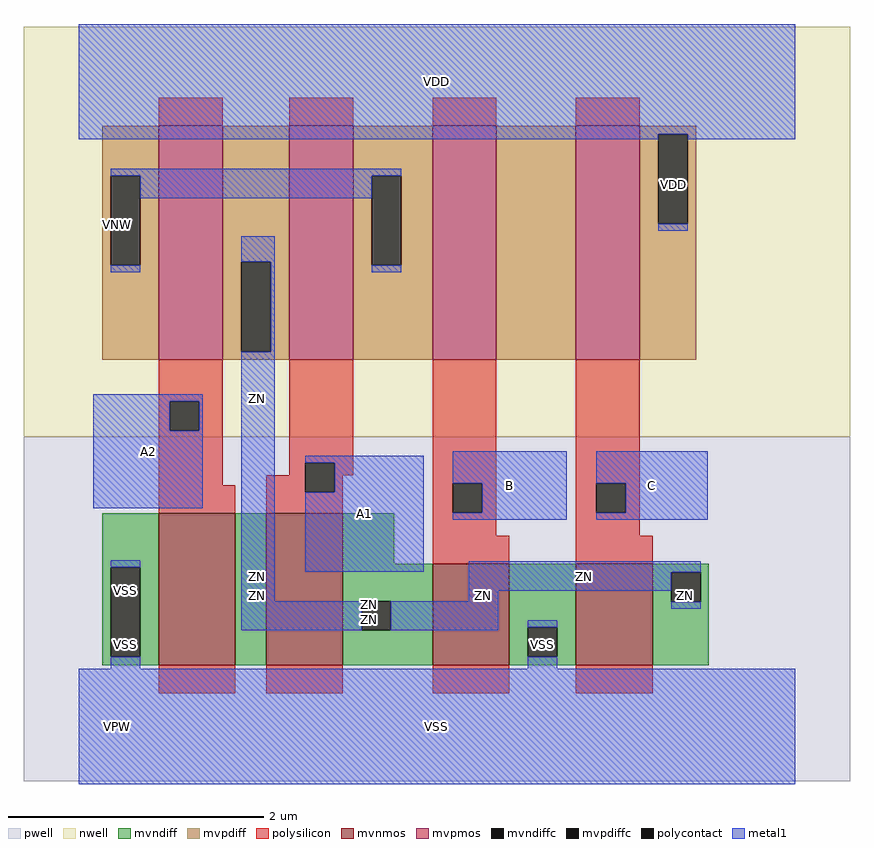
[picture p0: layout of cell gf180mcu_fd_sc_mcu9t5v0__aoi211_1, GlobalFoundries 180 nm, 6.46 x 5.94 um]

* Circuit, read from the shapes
.subckt gf180mcu_fd_sc_mcu9t5v0__aoi211_1 A1 A2 B C ZN VDD VNW VPW VSS
XM1 n1 A2 VSS VPW nfet_06v0 w=1.185u l=0.6u
XM2 ZN A1 n1 VPW nfet_06v0 w=1.185u l=0.6u
XM3 VSS B ZN VPW nfet_06v0 w=0.79u l=0.6u
XM4 ZN C VSS VPW nfet_06v0 w=0.79u l=0.6u
XM5 ZN A2 n2 VNW pfet_06v0 w=1.83u l=0.5u
XM6 n2 A1 ZN VNW pfet_06v0 w=1.83u l=0.5u
XM7 n3 B n2 VNW pfet_06v0 w=1.83u l=0.5u
XM8 VDD C n3 VNW pfet_06v0 w=1.83u l=0.5u
.ends

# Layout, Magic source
magic
tech gf180mcuD
magscale 1 10
<< nwell >>
rect -86 453 1206 1094
<< pwell >>
rect -86 -86 1206 453
<< mvnmos >>
rect 125 96 245 333
rect 293 96 413 333
rect 553 96 673 254
rect 777 96 897 254
<< mvpmos >>
rect 125 573 225 939
rect 329 573 429 939
rect 553 573 653 939
rect 777 573 877 939
<< mvndiff >>
rect 37 249 125 333
rect 37 109 50 249
rect 96 109 125 249
rect 37 96 125 109
rect 245 96 293 333
rect 413 254 493 333
rect 413 196 553 254
rect 413 150 442 196
rect 488 150 553 196
rect 413 96 553 150
rect 673 155 777 254
rect 673 109 702 155
rect 748 109 777 155
rect 673 96 777 109
rect 897 241 985 254
rect 897 195 926 241
rect 972 195 985 241
rect 897 96 985 195
<< mvpdiff >>
rect 37 861 125 939
rect 37 721 50 861
rect 96 721 125 861
rect 37 573 125 721
rect 225 726 329 939
rect 225 586 254 726
rect 300 586 329 726
rect 225 573 329 586
rect 429 861 553 939
rect 429 721 458 861
rect 504 721 553 861
rect 429 573 553 721
rect 653 573 777 939
rect 877 926 965 939
rect 877 786 906 926
rect 952 786 965 926
rect 877 573 965 786
<< mvndiffc >>
rect 50 109 96 249
rect 442 150 488 196
rect 702 109 748 155
rect 926 195 972 241
<< mvpdiffc >>
rect 50 721 96 861
rect 254 586 300 726
rect 458 721 504 861
rect 906 786 952 926
<< polysilicon >>
rect 125 939 225 983
rect 329 939 429 983
rect 553 939 653 983
rect 777 939 877 983
rect 125 508 225 573
rect 125 462 142 508
rect 188 462 225 508
rect 125 377 225 462
rect 329 412 429 573
rect 329 393 354 412
rect 125 333 245 377
rect 293 366 354 393
rect 400 393 429 412
rect 400 366 413 393
rect 293 333 413 366
rect 553 380 653 573
rect 553 334 585 380
rect 631 334 653 380
rect 553 298 653 334
rect 777 380 877 573
rect 777 334 809 380
rect 855 334 877 380
rect 777 298 877 334
rect 553 254 673 298
rect 777 254 897 298
rect 125 52 245 96
rect 293 52 413 96
rect 553 52 673 96
rect 777 52 897 96
<< polycontact >>
rect 142 462 188 508
rect 354 366 400 412
rect 585 334 631 380
rect 809 334 855 380
<< metal1 >>
rect 0 926 1120 1098
rect 0 918 906 926
rect 50 861 504 872
rect 96 826 458 861
rect 50 710 96 721
rect 254 726 306 766
rect 300 586 306 726
rect 952 918 1120 926
rect 906 775 952 786
rect 458 710 504 721
rect 23 508 194 519
rect 23 462 142 508
rect 188 462 194 508
rect 23 341 194 462
rect 50 249 96 260
rect 254 196 306 586
rect 354 412 539 423
rect 400 366 539 412
rect 354 242 539 366
rect 585 380 763 430
rect 631 334 763 380
rect 585 323 763 334
rect 809 380 983 430
rect 855 334 983 380
rect 809 323 983 334
rect 610 241 972 258
rect 610 212 926 241
rect 610 196 656 212
rect 254 150 442 196
rect 488 150 656 196
rect 926 184 972 195
rect 702 155 748 166
rect 50 90 96 109
rect 702 90 748 109
rect 0 -90 1120 90
<< labels >>
flabel metal1 s 354 242 539 423 0 FreeSans 200 0 0 0 A1
port 1 nsew default input
flabel metal1 s 23 341 194 519 0 FreeSans 200 0 0 0 A2
port 2 nsew default input
flabel metal1 s 585 323 763 430 0 FreeSans 200 0 0 0 B
port 3 nsew default input
flabel metal1 s 809 323 983 430 0 FreeSans 200 0 0 0 C
port 4 nsew default input
flabel metal1 s 0 918 1120 1098 0 FreeSans 200 0 0 0 VDD
port 6 nsew power bidirectional abutment
flabel metal1 s 50 166 96 260 0 FreeSans 200 0 0 0 VSS
port 9 nsew ground bidirectional abutment
flabel metal1 s 254 258 306 766 0 FreeSans 200 0 0 0 ZN
port 5 nsew default output
flabel nwell s 10 734 110 834 0 FreeSans 400 0 0 0 VNW
port 7 nsew power bidirectional
flabel pwell s 10 -50 110 50 0 FreeSans 400 0 0 0 VPW
port 8 nsew ground bidirectional
rlabel metal1 s 610 212 972 258 1 ZN
port 5 nsew default output
rlabel metal1 s 254 212 306 258 1 ZN
port 5 nsew default output
rlabel metal1 s 926 196 972 212 1 ZN
port 5 nsew default output
rlabel metal1 s 610 196 656 212 1 ZN
port 5 nsew default output
rlabel metal1 s 254 196 306 212 1 ZN
port 5 nsew default output
rlabel metal1 s 926 184 972 196 1 ZN
port 5 nsew default output
rlabel metal1 s 254 184 656 196 1 ZN
port 5 nsew default output
rlabel metal1 s 254 150 656 184 1 ZN
port 5 nsew default output
rlabel metal1 s 906 775 952 918 1 VDD
port 6 nsew power bidirectional abutment
rlabel metal1 s 702 90 748 166 1 VSS
port 9 nsew ground bidirectional abutment
rlabel metal1 s 50 90 96 166 1 VSS
port 9 nsew ground bidirectional abutment
rlabel metal1 s 0 -90 1120 90 1 VSS
port 9 nsew ground bidirectional abutment
<< properties >>
string FIXED_BBOX 0 0 1120 1008
string GDS_END 1202566
string GDS_FILE $PDKPATH/libs.ref/gf180mcu_fd_sc_mcu9t5v0/gds/gf180mcu_fd_sc_mcu9t5v0.gds
string GDS_START 1198950
string LEFclass core
string LEFsite GF018hv5v_green_sc9
string LEFsymmetry X Y
<< end >>
